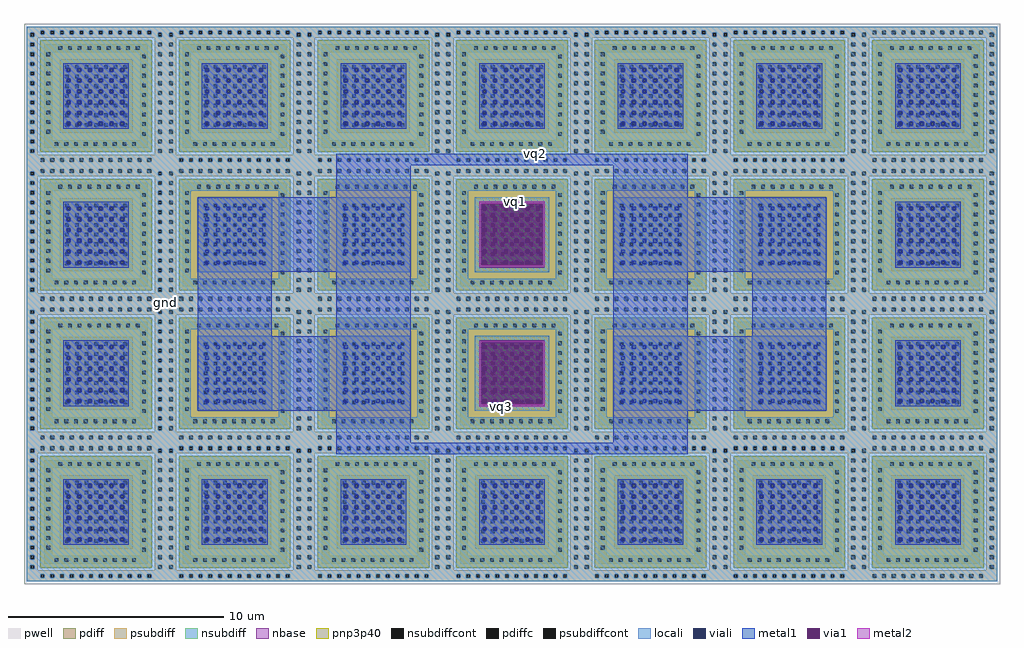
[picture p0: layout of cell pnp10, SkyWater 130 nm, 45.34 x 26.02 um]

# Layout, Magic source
magic
tech sky130A
<< pwell >>
rect 3215 49 3226 643
<< psubdiff >>
rect 3215 49 3226 643
<< locali >>
rect 3230 1251 3871 1300
rect -587 705 3871 1251
rect -587 -681 -41 705
rect 8 539 3228 656
rect 8 130 126 539
rect 534 130 770 539
rect 1178 130 1414 539
rect 1822 130 2058 539
rect 2467 130 2702 539
rect 3111 130 3228 539
rect 8 -106 3228 130
rect 8 -514 126 -106
rect 534 -514 770 -106
rect 1178 -514 1414 -106
rect 1822 -514 2058 -106
rect 2467 -514 2702 -106
rect 3111 -514 3228 -106
rect 8 -632 3228 -514
rect 3230 -681 3871 705
rect -587 -1227 3871 -681
rect 3230 -1276 3871 -1227
<< metal1 >>
rect 801 656 2435 710
rect 801 507 1147 656
rect 157 161 1147 507
rect 2089 507 2435 656
rect 157 -137 503 161
rect 801 -137 1147 161
rect 157 -483 1147 -137
rect 2089 161 3079 507
rect 2089 -137 2435 161
rect 2733 -137 3079 161
rect 801 -632 1147 -483
rect 2089 -483 3079 -137
rect 2089 -632 2435 -483
rect 801 -686 2435 -632
<< via1 >>
rect 1475 191 1762 478
rect 1475 -453 1762 -166
<< metal2 >>
rect 1466 478 1770 486
rect 1466 191 1475 478
rect 1762 191 1770 478
rect 1466 182 1770 191
rect 1466 -166 1770 -158
rect 1466 -453 1475 -166
rect 1762 -453 1770 -166
rect 1466 -462 1770 -453
use pnpt1  pnpt1_20
transform 1 0 3215 0 1 643
box 0 0 670 670
use pnpt1  pnpt1_19
transform 1 0 2571 0 1 643
box 0 0 670 670
use pnpt1  pnpt1_18
transform 1 0 1927 0 1 643
box 0 0 670 670
use pnpt1  pnpt1_17
transform 1 0 1283 0 1 643
box 0 0 670 670
use pnpt1  pnpt1_16
transform 1 0 639 0 1 643
box 0 0 670 670
use pnpt1  pnpt1_15
transform 1 0 -5 0 1 643
box 0 0 670 670
use pnpt1  pnpt1_27
transform 1 0 -649 0 1 643
box 0 0 670 670
use pnpt1  pnpt1_21
transform 1 0 3215 0 1 -1
box 0 0 670 670
use pnpt1  pnpt1_4
transform 1 0 2571 0 1 -1
box 0 0 670 670
use pnpt1  pnpt1_3
transform 1 0 1927 0 1 -1
box 0 0 670 670
use pnpt1  pnpt1_2
transform 1 0 1283 0 1 -1
box 0 0 670 670
use pnpt1  pnpt1_1
transform 1 0 639 0 1 -1
box 0 0 670 670
use pnpt1  pnpt1_0
transform 1 0 -5 0 1 -1
box 0 0 670 670
use pnpt1  pnpt1_26
transform 1 0 -649 0 1 -1
box 0 0 670 670
use pnpt1  pnpt1_22
transform 1 0 3215 0 1 -645
box 0 0 670 670
use pnpt1  pnpt1_23
transform 1 0 3215 0 1 -1289
box 0 0 670 670
use pnpt1  pnpt1_9
transform 1 0 2571 0 1 -645
box 0 0 670 670
use pnpt1  pnpt1_14
transform 1 0 2571 0 1 -1289
box 0 0 670 670
use pnpt1  pnpt1_8
transform 1 0 1927 0 1 -645
box 0 0 670 670
use pnpt1  pnpt1_13
transform 1 0 1927 0 1 -1289
box 0 0 670 670
use pnpt1  pnpt1_7
transform 1 0 1283 0 1 -645
box 0 0 670 670
use pnpt1  pnpt1_12
transform 1 0 1283 0 1 -1289
box 0 0 670 670
use pnpt1  pnpt1_6
transform 1 0 639 0 1 -645
box 0 0 670 670
use pnpt1  pnpt1_11
transform 1 0 639 0 1 -1289
box 0 0 670 670
use pnpt1  pnpt1_5
transform 1 0 -5 0 1 -645
box 0 0 670 670
use pnpt1  pnpt1_25
transform 1 0 -649 0 1 -645
box 0 0 670 670
use pnpt1  pnpt1_10
transform 1 0 -5 0 1 -1289
box 0 0 670 670
use pnpt1  pnpt1_24
transform 1 0 -649 0 1 -1289
box 0 0 670 670
<< labels >>
rlabel metal2 1634 486 1634 486 1 vq1
port 1 n
rlabel metal1 1729 710 1729 710 5 vq2
port 2 s
rlabel metal2 1567 -462 1567 -462 1 vq3
port 3 n
rlabel locali 8 18 8 18 1 gnd
port 4 n
<< end >>

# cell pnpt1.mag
magic
tech sky130A
magscale 1 2
<< pwell >>
rect 0 1187 1340 1340
rect 0 153 153 1187
rect 1187 153 1340 1187
rect 0 0 1340 153
<< nbase >>
rect 153 153 1187 1187
<< pnp3p40 >>
rect 153 153 1187 1187
<< pdiff >>
rect 330 958 1010 1010
rect 330 924 384 958
rect 418 924 474 958
rect 508 924 564 958
rect 598 924 654 958
rect 688 924 744 958
rect 778 924 834 958
rect 868 924 924 958
rect 958 924 1010 958
rect 330 868 1010 924
rect 330 834 384 868
rect 418 834 474 868
rect 508 834 564 868
rect 598 834 654 868
rect 688 834 744 868
rect 778 834 834 868
rect 868 834 924 868
rect 958 834 1010 868
rect 330 778 1010 834
rect 330 744 384 778
rect 418 744 474 778
rect 508 744 564 778
rect 598 744 654 778
rect 688 744 744 778
rect 778 744 834 778
rect 868 744 924 778
rect 958 744 1010 778
rect 330 688 1010 744
rect 330 654 384 688
rect 418 654 474 688
rect 508 654 564 688
rect 598 654 654 688
rect 688 654 744 688
rect 778 654 834 688
rect 868 654 924 688
rect 958 654 1010 688
rect 330 598 1010 654
rect 330 564 384 598
rect 418 564 474 598
rect 508 564 564 598
rect 598 564 654 598
rect 688 564 744 598
rect 778 564 834 598
rect 868 564 924 598
rect 958 564 1010 598
rect 330 508 1010 564
rect 330 474 384 508
rect 418 474 474 508
rect 508 474 564 508
rect 598 474 654 508
rect 688 474 744 508
rect 778 474 834 508
rect 868 474 924 508
rect 958 474 1010 508
rect 330 418 1010 474
rect 330 384 384 418
rect 418 384 474 418
rect 508 384 564 418
rect 598 384 654 418
rect 688 384 744 418
rect 778 384 834 418
rect 868 384 924 418
rect 958 384 1010 418
rect 330 330 1010 384
<< pdiffc >>
rect 384 924 418 958
rect 474 924 508 958
rect 564 924 598 958
rect 654 924 688 958
rect 744 924 778 958
rect 834 924 868 958
rect 924 924 958 958
rect 384 834 418 868
rect 474 834 508 868
rect 564 834 598 868
rect 654 834 688 868
rect 744 834 778 868
rect 834 834 868 868
rect 924 834 958 868
rect 384 744 418 778
rect 474 744 508 778
rect 564 744 598 778
rect 654 744 688 778
rect 744 744 778 778
rect 834 744 868 778
rect 924 744 958 778
rect 384 654 418 688
rect 474 654 508 688
rect 564 654 598 688
rect 654 654 688 688
rect 744 654 778 688
rect 834 654 868 688
rect 924 654 958 688
rect 384 564 418 598
rect 474 564 508 598
rect 564 564 598 598
rect 654 564 688 598
rect 744 564 778 598
rect 834 564 868 598
rect 924 564 958 598
rect 384 474 418 508
rect 474 474 508 508
rect 564 474 598 508
rect 654 474 688 508
rect 744 474 778 508
rect 834 474 868 508
rect 924 474 958 508
rect 384 384 418 418
rect 474 384 508 418
rect 564 384 598 418
rect 654 384 688 418
rect 744 384 778 418
rect 834 384 868 418
rect 924 384 958 418
<< psubdiff >>
rect 26 1279 1314 1314
rect 26 1256 156 1279
rect 26 1222 60 1256
rect 94 1245 156 1256
rect 190 1245 246 1279
rect 280 1245 336 1279
rect 370 1245 426 1279
rect 460 1245 516 1279
rect 550 1245 606 1279
rect 640 1245 696 1279
rect 730 1245 786 1279
rect 820 1245 876 1279
rect 910 1245 966 1279
rect 1000 1245 1056 1279
rect 1090 1245 1146 1279
rect 1180 1256 1314 1279
rect 1180 1245 1247 1256
rect 94 1222 1247 1245
rect 1281 1222 1314 1256
rect 26 1213 1314 1222
rect 26 1166 127 1213
rect 26 1132 60 1166
rect 94 1132 127 1166
rect 1213 1166 1314 1213
rect 26 1076 127 1132
rect 26 1042 60 1076
rect 94 1042 127 1076
rect 26 986 127 1042
rect 26 952 60 986
rect 94 952 127 986
rect 26 896 127 952
rect 26 862 60 896
rect 94 862 127 896
rect 26 806 127 862
rect 26 772 60 806
rect 94 772 127 806
rect 26 716 127 772
rect 26 682 60 716
rect 94 682 127 716
rect 26 626 127 682
rect 26 592 60 626
rect 94 592 127 626
rect 26 536 127 592
rect 26 502 60 536
rect 94 502 127 536
rect 26 446 127 502
rect 26 412 60 446
rect 94 412 127 446
rect 26 356 127 412
rect 26 322 60 356
rect 94 322 127 356
rect 26 266 127 322
rect 26 232 60 266
rect 94 232 127 266
rect 26 176 127 232
rect 1213 1132 1247 1166
rect 1281 1132 1314 1166
rect 1213 1076 1314 1132
rect 1213 1042 1247 1076
rect 1281 1042 1314 1076
rect 1213 986 1314 1042
rect 1213 952 1247 986
rect 1281 952 1314 986
rect 1213 896 1314 952
rect 1213 862 1247 896
rect 1281 862 1314 896
rect 1213 806 1314 862
rect 1213 772 1247 806
rect 1281 772 1314 806
rect 1213 716 1314 772
rect 1213 682 1247 716
rect 1281 682 1314 716
rect 1213 626 1314 682
rect 1213 592 1247 626
rect 1281 592 1314 626
rect 1213 536 1314 592
rect 1213 502 1247 536
rect 1281 502 1314 536
rect 1213 446 1314 502
rect 1213 412 1247 446
rect 1281 412 1314 446
rect 1213 356 1314 412
rect 1213 322 1247 356
rect 1281 322 1314 356
rect 1213 266 1314 322
rect 1213 232 1247 266
rect 1281 232 1314 266
rect 26 142 60 176
rect 94 142 127 176
rect 26 127 127 142
rect 1213 176 1314 232
rect 1213 142 1247 176
rect 1281 142 1314 176
rect 1213 127 1314 142
rect 26 92 1314 127
rect 26 58 156 92
rect 190 58 246 92
rect 280 58 336 92
rect 370 58 426 92
rect 460 58 516 92
rect 550 58 606 92
rect 640 58 696 92
rect 730 58 786 92
rect 820 58 876 92
rect 910 58 966 92
rect 1000 58 1056 92
rect 1090 58 1146 92
rect 1180 58 1314 92
rect 26 26 1314 58
<< nsubdiff >>
rect 189 1132 1151 1151
rect 189 1098 320 1132
rect 354 1098 410 1132
rect 444 1098 500 1132
rect 534 1098 590 1132
rect 624 1098 680 1132
rect 714 1098 770 1132
rect 804 1098 860 1132
rect 894 1098 950 1132
rect 984 1098 1040 1132
rect 1074 1098 1151 1132
rect 189 1079 1151 1098
rect 189 1075 261 1079
rect 189 1041 208 1075
rect 242 1041 261 1075
rect 189 985 261 1041
rect 1079 1056 1151 1079
rect 1079 1022 1098 1056
rect 1132 1022 1151 1056
rect 189 951 208 985
rect 242 951 261 985
rect 189 895 261 951
rect 189 861 208 895
rect 242 861 261 895
rect 189 805 261 861
rect 189 771 208 805
rect 242 771 261 805
rect 189 715 261 771
rect 189 681 208 715
rect 242 681 261 715
rect 189 625 261 681
rect 189 591 208 625
rect 242 591 261 625
rect 189 535 261 591
rect 189 501 208 535
rect 242 501 261 535
rect 189 445 261 501
rect 189 411 208 445
rect 242 411 261 445
rect 189 355 261 411
rect 189 321 208 355
rect 242 321 261 355
rect 1079 966 1151 1022
rect 1079 932 1098 966
rect 1132 932 1151 966
rect 1079 876 1151 932
rect 1079 842 1098 876
rect 1132 842 1151 876
rect 1079 786 1151 842
rect 1079 752 1098 786
rect 1132 752 1151 786
rect 1079 696 1151 752
rect 1079 662 1098 696
rect 1132 662 1151 696
rect 1079 606 1151 662
rect 1079 572 1098 606
rect 1132 572 1151 606
rect 1079 516 1151 572
rect 1079 482 1098 516
rect 1132 482 1151 516
rect 1079 426 1151 482
rect 1079 392 1098 426
rect 1132 392 1151 426
rect 1079 336 1151 392
rect 189 261 261 321
rect 1079 302 1098 336
rect 1132 302 1151 336
rect 1079 261 1151 302
rect 189 242 1151 261
rect 189 208 286 242
rect 320 208 376 242
rect 410 208 466 242
rect 500 208 556 242
rect 590 208 646 242
rect 680 208 736 242
rect 770 208 826 242
rect 860 208 916 242
rect 950 208 1006 242
rect 1040 208 1151 242
rect 189 189 1151 208
<< psubdiffcont >>
rect 60 1222 94 1256
rect 156 1245 190 1279
rect 246 1245 280 1279
rect 336 1245 370 1279
rect 426 1245 460 1279
rect 516 1245 550 1279
rect 606 1245 640 1279
rect 696 1245 730 1279
rect 786 1245 820 1279
rect 876 1245 910 1279
rect 966 1245 1000 1279
rect 1056 1245 1090 1279
rect 1146 1245 1180 1279
rect 1247 1222 1281 1256
rect 60 1132 94 1166
rect 60 1042 94 1076
rect 60 952 94 986
rect 60 862 94 896
rect 60 772 94 806
rect 60 682 94 716
rect 60 592 94 626
rect 60 502 94 536
rect 60 412 94 446
rect 60 322 94 356
rect 60 232 94 266
rect 1247 1132 1281 1166
rect 1247 1042 1281 1076
rect 1247 952 1281 986
rect 1247 862 1281 896
rect 1247 772 1281 806
rect 1247 682 1281 716
rect 1247 592 1281 626
rect 1247 502 1281 536
rect 1247 412 1281 446
rect 1247 322 1281 356
rect 1247 232 1281 266
rect 60 142 94 176
rect 1247 142 1281 176
rect 156 58 190 92
rect 246 58 280 92
rect 336 58 370 92
rect 426 58 460 92
rect 516 58 550 92
rect 606 58 640 92
rect 696 58 730 92
rect 786 58 820 92
rect 876 58 910 92
rect 966 58 1000 92
rect 1056 58 1090 92
rect 1146 58 1180 92
<< nsubdiffcont >>
rect 320 1098 354 1132
rect 410 1098 444 1132
rect 500 1098 534 1132
rect 590 1098 624 1132
rect 680 1098 714 1132
rect 770 1098 804 1132
rect 860 1098 894 1132
rect 950 1098 984 1132
rect 1040 1098 1074 1132
rect 208 1041 242 1075
rect 1098 1022 1132 1056
rect 208 951 242 985
rect 208 861 242 895
rect 208 771 242 805
rect 208 681 242 715
rect 208 591 242 625
rect 208 501 242 535
rect 208 411 242 445
rect 208 321 242 355
rect 1098 932 1132 966
rect 1098 842 1132 876
rect 1098 752 1132 786
rect 1098 662 1132 696
rect 1098 572 1132 606
rect 1098 482 1132 516
rect 1098 392 1132 426
rect 1098 302 1132 336
rect 286 208 320 242
rect 376 208 410 242
rect 466 208 500 242
rect 556 208 590 242
rect 646 208 680 242
rect 736 208 770 242
rect 826 208 860 242
rect 916 208 950 242
rect 1006 208 1040 242
<< locali >>
rect 26 1279 1314 1314
rect 26 1256 156 1279
rect 26 1222 60 1256
rect 94 1245 156 1256
rect 190 1245 246 1279
rect 280 1245 336 1279
rect 370 1245 426 1279
rect 460 1245 516 1279
rect 550 1245 606 1279
rect 640 1245 696 1279
rect 730 1245 786 1279
rect 820 1245 876 1279
rect 910 1245 966 1279
rect 1000 1245 1056 1279
rect 1090 1245 1146 1279
rect 1180 1256 1314 1279
rect 1180 1245 1247 1256
rect 94 1222 1247 1245
rect 1281 1222 1314 1256
rect 26 1215 1314 1222
rect 26 1166 125 1215
rect 26 1132 60 1166
rect 94 1132 125 1166
rect 1215 1166 1314 1215
rect 26 1076 125 1132
rect 26 1042 60 1076
rect 94 1042 125 1076
rect 26 986 125 1042
rect 26 952 60 986
rect 94 952 125 986
rect 26 896 125 952
rect 26 862 60 896
rect 94 862 125 896
rect 26 806 125 862
rect 26 772 60 806
rect 94 772 125 806
rect 26 716 125 772
rect 26 682 60 716
rect 94 682 125 716
rect 26 626 125 682
rect 26 592 60 626
rect 94 592 125 626
rect 26 536 125 592
rect 26 502 60 536
rect 94 502 125 536
rect 26 446 125 502
rect 26 412 60 446
rect 94 412 125 446
rect 26 356 125 412
rect 26 322 60 356
rect 94 322 125 356
rect 26 266 125 322
rect 26 232 60 266
rect 94 232 125 266
rect 26 176 125 232
rect 189 1132 1151 1151
rect 189 1098 320 1132
rect 354 1098 410 1132
rect 444 1098 500 1132
rect 534 1098 590 1132
rect 624 1098 680 1132
rect 714 1098 770 1132
rect 804 1098 860 1132
rect 894 1098 950 1132
rect 984 1098 1040 1132
rect 1074 1098 1151 1132
rect 189 1079 1151 1098
rect 189 1075 261 1079
rect 189 1041 208 1075
rect 242 1041 261 1075
rect 189 985 261 1041
rect 1079 1056 1151 1079
rect 1079 1022 1098 1056
rect 1132 1022 1151 1056
rect 189 951 208 985
rect 242 951 261 985
rect 189 895 261 951
rect 189 861 208 895
rect 242 861 261 895
rect 189 805 261 861
rect 189 771 208 805
rect 242 771 261 805
rect 189 715 261 771
rect 189 681 208 715
rect 242 681 261 715
rect 189 625 261 681
rect 189 591 208 625
rect 242 591 261 625
rect 189 535 261 591
rect 189 501 208 535
rect 242 501 261 535
rect 189 445 261 501
rect 189 411 208 445
rect 242 411 261 445
rect 189 355 261 411
rect 189 321 208 355
rect 242 321 261 355
rect 323 958 1017 1017
rect 323 924 384 958
rect 418 930 474 958
rect 508 930 564 958
rect 598 930 654 958
rect 430 924 474 930
rect 530 924 564 930
rect 630 924 654 930
rect 688 930 744 958
rect 688 924 696 930
rect 323 896 396 924
rect 430 896 496 924
rect 530 896 596 924
rect 630 896 696 924
rect 730 924 744 930
rect 778 930 834 958
rect 778 924 796 930
rect 730 896 796 924
rect 830 924 834 930
rect 868 930 924 958
rect 868 924 896 930
rect 958 924 1017 958
rect 830 896 896 924
rect 930 896 1017 924
rect 323 868 1017 896
rect 323 834 384 868
rect 418 834 474 868
rect 508 834 564 868
rect 598 834 654 868
rect 688 834 744 868
rect 778 834 834 868
rect 868 834 924 868
rect 958 834 1017 868
rect 323 830 1017 834
rect 323 796 396 830
rect 430 796 496 830
rect 530 796 596 830
rect 630 796 696 830
rect 730 796 796 830
rect 830 796 896 830
rect 930 796 1017 830
rect 323 778 1017 796
rect 323 744 384 778
rect 418 744 474 778
rect 508 744 564 778
rect 598 744 654 778
rect 688 744 744 778
rect 778 744 834 778
rect 868 744 924 778
rect 958 744 1017 778
rect 323 730 1017 744
rect 323 696 396 730
rect 430 696 496 730
rect 530 696 596 730
rect 630 696 696 730
rect 730 696 796 730
rect 830 696 896 730
rect 930 696 1017 730
rect 323 688 1017 696
rect 323 654 384 688
rect 418 654 474 688
rect 508 654 564 688
rect 598 654 654 688
rect 688 654 744 688
rect 778 654 834 688
rect 868 654 924 688
rect 958 654 1017 688
rect 323 630 1017 654
rect 323 598 396 630
rect 430 598 496 630
rect 530 598 596 630
rect 630 598 696 630
rect 323 564 384 598
rect 430 596 474 598
rect 530 596 564 598
rect 630 596 654 598
rect 418 564 474 596
rect 508 564 564 596
rect 598 564 654 596
rect 688 596 696 598
rect 730 598 796 630
rect 730 596 744 598
rect 688 564 744 596
rect 778 596 796 598
rect 830 598 896 630
rect 930 598 1017 630
rect 830 596 834 598
rect 778 564 834 596
rect 868 596 896 598
rect 868 564 924 596
rect 958 564 1017 598
rect 323 530 1017 564
rect 323 508 396 530
rect 430 508 496 530
rect 530 508 596 530
rect 630 508 696 530
rect 323 474 384 508
rect 430 496 474 508
rect 530 496 564 508
rect 630 496 654 508
rect 418 474 474 496
rect 508 474 564 496
rect 598 474 654 496
rect 688 496 696 508
rect 730 508 796 530
rect 730 496 744 508
rect 688 474 744 496
rect 778 496 796 508
rect 830 508 896 530
rect 930 508 1017 530
rect 830 496 834 508
rect 778 474 834 496
rect 868 496 896 508
rect 868 474 924 496
rect 958 474 1017 508
rect 323 430 1017 474
rect 323 418 396 430
rect 430 418 496 430
rect 530 418 596 430
rect 630 418 696 430
rect 323 384 384 418
rect 430 396 474 418
rect 530 396 564 418
rect 630 396 654 418
rect 418 384 474 396
rect 508 384 564 396
rect 598 384 654 396
rect 688 396 696 418
rect 730 418 796 430
rect 730 396 744 418
rect 688 384 744 396
rect 778 396 796 418
rect 830 418 896 430
rect 930 418 1017 430
rect 830 396 834 418
rect 778 384 834 396
rect 868 396 896 418
rect 868 384 924 396
rect 958 384 1017 418
rect 323 323 1017 384
rect 1079 966 1151 1022
rect 1079 932 1098 966
rect 1132 932 1151 966
rect 1079 876 1151 932
rect 1079 842 1098 876
rect 1132 842 1151 876
rect 1079 786 1151 842
rect 1079 752 1098 786
rect 1132 752 1151 786
rect 1079 696 1151 752
rect 1079 662 1098 696
rect 1132 662 1151 696
rect 1079 606 1151 662
rect 1079 572 1098 606
rect 1132 572 1151 606
rect 1079 516 1151 572
rect 1079 482 1098 516
rect 1132 482 1151 516
rect 1079 426 1151 482
rect 1079 392 1098 426
rect 1132 392 1151 426
rect 1079 336 1151 392
rect 189 261 261 321
rect 1079 302 1098 336
rect 1132 302 1151 336
rect 1079 261 1151 302
rect 189 242 1151 261
rect 189 208 286 242
rect 320 208 376 242
rect 410 208 466 242
rect 500 208 556 242
rect 590 208 646 242
rect 680 208 736 242
rect 770 208 826 242
rect 860 208 916 242
rect 950 208 1006 242
rect 1040 208 1151 242
rect 189 189 1151 208
rect 1215 1132 1247 1166
rect 1281 1132 1314 1166
rect 1215 1076 1314 1132
rect 1215 1042 1247 1076
rect 1281 1042 1314 1076
rect 1215 986 1314 1042
rect 1215 952 1247 986
rect 1281 952 1314 986
rect 1215 896 1314 952
rect 1215 862 1247 896
rect 1281 862 1314 896
rect 1215 806 1314 862
rect 1215 772 1247 806
rect 1281 772 1314 806
rect 1215 716 1314 772
rect 1215 682 1247 716
rect 1281 682 1314 716
rect 1215 626 1314 682
rect 1215 592 1247 626
rect 1281 592 1314 626
rect 1215 536 1314 592
rect 1215 502 1247 536
rect 1281 502 1314 536
rect 1215 446 1314 502
rect 1215 412 1247 446
rect 1281 412 1314 446
rect 1215 356 1314 412
rect 1215 322 1247 356
rect 1281 322 1314 356
rect 1215 266 1314 322
rect 1215 232 1247 266
rect 1281 232 1314 266
rect 26 142 60 176
rect 94 142 125 176
rect 26 125 125 142
rect 1215 176 1314 232
rect 1215 142 1247 176
rect 1281 142 1314 176
rect 1215 125 1314 142
rect 26 92 1314 125
rect 26 58 156 92
rect 190 58 246 92
rect 280 58 336 92
rect 370 58 426 92
rect 460 58 516 92
rect 550 58 606 92
rect 640 58 696 92
rect 730 58 786 92
rect 820 58 876 92
rect 910 58 966 92
rect 1000 58 1056 92
rect 1090 58 1146 92
rect 1180 58 1314 92
rect 26 26 1314 58
<< viali >>
rect 396 924 418 930
rect 418 924 430 930
rect 496 924 508 930
rect 508 924 530 930
rect 596 924 598 930
rect 598 924 630 930
rect 396 896 430 924
rect 496 896 530 924
rect 596 896 630 924
rect 696 896 730 930
rect 796 896 830 930
rect 896 924 924 930
rect 924 924 930 930
rect 896 896 930 924
rect 396 796 430 830
rect 496 796 530 830
rect 596 796 630 830
rect 696 796 730 830
rect 796 796 830 830
rect 896 796 930 830
rect 396 696 430 730
rect 496 696 530 730
rect 596 696 630 730
rect 696 696 730 730
rect 796 696 830 730
rect 896 696 930 730
rect 396 598 430 630
rect 496 598 530 630
rect 596 598 630 630
rect 396 596 418 598
rect 418 596 430 598
rect 496 596 508 598
rect 508 596 530 598
rect 596 596 598 598
rect 598 596 630 598
rect 696 596 730 630
rect 796 596 830 630
rect 896 598 930 630
rect 896 596 924 598
rect 924 596 930 598
rect 396 508 430 530
rect 496 508 530 530
rect 596 508 630 530
rect 396 496 418 508
rect 418 496 430 508
rect 496 496 508 508
rect 508 496 530 508
rect 596 496 598 508
rect 598 496 630 508
rect 696 496 730 530
rect 796 496 830 530
rect 896 508 930 530
rect 896 496 924 508
rect 924 496 930 508
rect 396 418 430 430
rect 496 418 530 430
rect 596 418 630 430
rect 396 396 418 418
rect 418 396 430 418
rect 496 396 508 418
rect 508 396 530 418
rect 596 396 598 418
rect 598 396 630 418
rect 696 396 730 430
rect 796 396 830 430
rect 896 418 930 430
rect 896 396 924 418
rect 924 396 930 418
<< metal1 >>
rect 365 930 975 975
rect 365 896 396 930
rect 430 896 496 930
rect 530 896 596 930
rect 630 896 696 930
rect 730 896 796 930
rect 830 896 896 930
rect 930 896 975 930
rect 365 830 975 896
rect 365 796 396 830
rect 430 796 496 830
rect 530 796 596 830
rect 630 796 696 830
rect 730 796 796 830
rect 830 796 896 830
rect 930 796 975 830
rect 365 730 975 796
rect 365 696 396 730
rect 430 696 496 730
rect 530 696 596 730
rect 630 696 696 730
rect 730 696 796 730
rect 830 696 896 730
rect 930 696 975 730
rect 365 630 975 696
rect 365 596 396 630
rect 430 596 496 630
rect 530 596 596 630
rect 630 596 696 630
rect 730 596 796 630
rect 830 596 896 630
rect 930 596 975 630
rect 365 530 975 596
rect 365 496 396 530
rect 430 496 496 530
rect 530 496 596 530
rect 630 496 696 530
rect 730 496 796 530
rect 830 496 896 530
rect 930 496 975 530
rect 365 430 975 496
rect 365 396 396 430
rect 430 396 496 430
rect 530 396 596 430
rect 630 396 696 430
rect 730 396 796 430
rect 830 396 896 430
rect 930 396 975 430
rect 365 365 975 396
<< labels >>
flabel locali s 554 626 802 730 0 FreeSans 400 0 0 0 Emitter
port 1 nsew
flabel locali s 613 1252 714 1301 0 FreeSans 400 0 0 0 Collector
port 2 nsew
flabel locali s 590 1102 708 1142 0 FreeSans 400 0 0 0 Base
port 3 nsew
<< properties >>
string gencell sky130_fd_pr__rf_pnp_05v5_W3p40L3p40
string GDS_FILE $PDKPATH/libs.ref/sky130_fd_pr/gds/sky130_fd_pr__rf_pnp_05v5_W3p40L3p40.gds
string GDS_END 28496
string GDS_START 162
string parameter m=1
string library sky130
<< end >>
